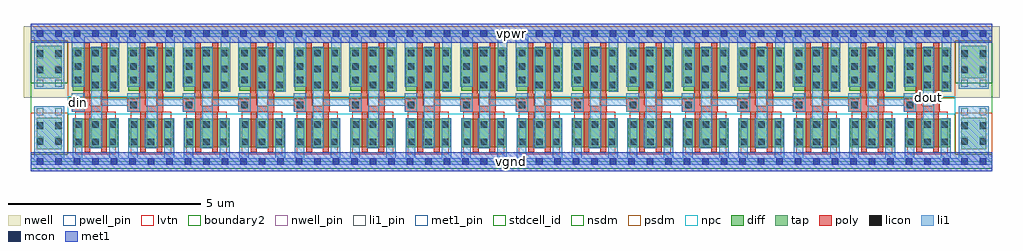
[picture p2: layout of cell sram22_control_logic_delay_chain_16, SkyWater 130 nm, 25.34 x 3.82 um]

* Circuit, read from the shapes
.subckt sram22_control_logic_delay_chain_16 din dout vgnd vpwr
XM1 sky130_fd_sc_hs__inv_2_1/a din vgnd vgnd sky130_fd_pr__nfet_01v8_lvt w=0.74 l=0.15 m=2
XM2 sky130_fd_sc_hs__inv_2_2/a sky130_fd_sc_hs__inv_2_1/a vgnd vgnd sky130_fd_pr__nfet_01v8_lvt w=0.74 l=0.15 m=2
XM3 sky130_fd_sc_hs__inv_2_3/a sky130_fd_sc_hs__inv_2_2/a vgnd vgnd sky130_fd_pr__nfet_01v8_lvt w=0.74 l=0.15 m=2
XM4 sky130_fd_sc_hs__inv_2_4/a sky130_fd_sc_hs__inv_2_3/a vgnd vgnd sky130_fd_pr__nfet_01v8_lvt w=0.74 l=0.15 m=2
XM5 sky130_fd_sc_hs__inv_2_5/a sky130_fd_sc_hs__inv_2_4/a vgnd vgnd sky130_fd_pr__nfet_01v8_lvt w=0.74 l=0.15 m=2
XM6 sky130_fd_sc_hs__inv_2_6/a sky130_fd_sc_hs__inv_2_5/a vgnd vgnd sky130_fd_pr__nfet_01v8_lvt w=0.74 l=0.15 m=2
XM7 sky130_fd_sc_hs__inv_2_7/a sky130_fd_sc_hs__inv_2_6/a vgnd vgnd sky130_fd_pr__nfet_01v8_lvt w=0.74 l=0.15 m=2
XM8 sky130_fd_sc_hs__inv_2_8/a sky130_fd_sc_hs__inv_2_7/a vgnd vgnd sky130_fd_pr__nfet_01v8_lvt w=0.74 l=0.15 m=2
XM9 sky130_fd_sc_hs__inv_2_9/a sky130_fd_sc_hs__inv_2_8/a vgnd vgnd sky130_fd_pr__nfet_01v8_lvt w=0.74 l=0.15 m=2
XM10 sky130_fd_sc_hs__inv_2_10/a sky130_fd_sc_hs__inv_2_9/a vgnd vgnd sky130_fd_pr__nfet_01v8_lvt w=0.74 l=0.15 m=2
XM11 sky130_fd_sc_hs__inv_2_11/a sky130_fd_sc_hs__inv_2_10/a vgnd vgnd sky130_fd_pr__nfet_01v8_lvt w=0.74 l=0.15 m=2
XM12 sky130_fd_sc_hs__inv_2_12/a sky130_fd_sc_hs__inv_2_11/a vgnd vgnd sky130_fd_pr__nfet_01v8_lvt w=0.74 l=0.15 m=2
XM13 sky130_fd_sc_hs__inv_2_13/a sky130_fd_sc_hs__inv_2_12/a vgnd vgnd sky130_fd_pr__nfet_01v8_lvt w=0.74 l=0.15 m=2
XM14 sky130_fd_sc_hs__inv_2_14/a sky130_fd_sc_hs__inv_2_13/a vgnd vgnd sky130_fd_pr__nfet_01v8_lvt w=0.74 l=0.15 m=2
XM15 sky130_fd_sc_hs__inv_2_15/a sky130_fd_sc_hs__inv_2_14/a vgnd vgnd sky130_fd_pr__nfet_01v8_lvt w=0.74 l=0.15 m=2
XM16 dout sky130_fd_sc_hs__inv_2_15/a vgnd vgnd sky130_fd_pr__nfet_01v8_lvt w=0.74 l=0.15 m=2
XM17 sky130_fd_sc_hs__inv_2_1/a din vpwr vpwr sky130_fd_pr__pfet_01v8 w=1.12 l=0.15 m=2
XM18 sky130_fd_sc_hs__inv_2_2/a sky130_fd_sc_hs__inv_2_1/a vpwr vpwr sky130_fd_pr__pfet_01v8 w=1.12 l=0.15 m=2
XM19 sky130_fd_sc_hs__inv_2_3/a sky130_fd_sc_hs__inv_2_2/a vpwr vpwr sky130_fd_pr__pfet_01v8 w=1.12 l=0.15 m=2
XM20 sky130_fd_sc_hs__inv_2_4/a sky130_fd_sc_hs__inv_2_3/a vpwr vpwr sky130_fd_pr__pfet_01v8 w=1.12 l=0.15 m=2
XM21 sky130_fd_sc_hs__inv_2_5/a sky130_fd_sc_hs__inv_2_4/a vpwr vpwr sky130_fd_pr__pfet_01v8 w=1.12 l=0.15 m=2
XM22 sky130_fd_sc_hs__inv_2_6/a sky130_fd_sc_hs__inv_2_5/a vpwr vpwr sky130_fd_pr__pfet_01v8 w=1.12 l=0.15 m=2
XM23 sky130_fd_sc_hs__inv_2_7/a sky130_fd_sc_hs__inv_2_6/a vpwr vpwr sky130_fd_pr__pfet_01v8 w=1.12 l=0.15 m=2
XM24 sky130_fd_sc_hs__inv_2_8/a sky130_fd_sc_hs__inv_2_7/a vpwr vpwr sky130_fd_pr__pfet_01v8 w=1.12 l=0.15 m=2
XM25 sky130_fd_sc_hs__inv_2_9/a sky130_fd_sc_hs__inv_2_8/a vpwr vpwr sky130_fd_pr__pfet_01v8 w=1.12 l=0.15 m=2
XM26 sky130_fd_sc_hs__inv_2_10/a sky130_fd_sc_hs__inv_2_9/a vpwr vpwr sky130_fd_pr__pfet_01v8 w=1.12 l=0.15 m=2
XM27 sky130_fd_sc_hs__inv_2_11/a sky130_fd_sc_hs__inv_2_10/a vpwr vpwr sky130_fd_pr__pfet_01v8 w=1.12 l=0.15 m=2
XM28 sky130_fd_sc_hs__inv_2_12/a sky130_fd_sc_hs__inv_2_11/a vpwr vpwr sky130_fd_pr__pfet_01v8 w=1.12 l=0.15 m=2
XM29 sky130_fd_sc_hs__inv_2_13/a sky130_fd_sc_hs__inv_2_12/a vpwr vpwr sky130_fd_pr__pfet_01v8 w=1.12 l=0.15 m=2
XM30 sky130_fd_sc_hs__inv_2_14/a sky130_fd_sc_hs__inv_2_13/a vpwr vpwr sky130_fd_pr__pfet_01v8 w=1.12 l=0.15 m=2
XM31 sky130_fd_sc_hs__inv_2_15/a sky130_fd_sc_hs__inv_2_14/a vpwr vpwr sky130_fd_pr__pfet_01v8 w=1.12 l=0.15 m=2
XM32 dout sky130_fd_sc_hs__inv_2_15/a vpwr vpwr sky130_fd_pr__pfet_01v8 w=1.12 l=0.15 m=2
.ends

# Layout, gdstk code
import gdstk
lib = gdstk.Library(unit=1e-6, precision=1e-09)
def R(c, l, rs):  # rectangles x0, y0, x1, y1
    for r in rs: c.add(gdstk.rectangle(r[:2], r[2:], *l))
def A(c, l, x, y, w, h, nx, ny, dx, dy):  # array of equal rectangles
    R(c, l, [(x+i*dx, y+j*dy, x+i*dx+w, y+j*dy+h) for i in range(nx) for j in range(ny)])
def P(c, l, *ps):  # polygons
    for p in ps: c.add(gdstk.Polygon(p, *l))
nwell_pin = (64, 16)
nwell = (64, 20)
diff = (65, 20)
tap = (65, 44)
poly = (66, 20)
licon = (66, 44)
li1_pin = (67, 16)
li1 = (67, 20)
mcon = (67, 44)
met1_pin = (68, 16)
met1 = (68, 20)
stdcell_id = (81, 4)
nsdm = (93, 44)
psdm = (94, 20)
npc = (95, 20)
pwell_pin = (122, 16)
lvtn = (125, 44)
boundary2 = (236, 0)

sky130_fd_sc_hs__inv_2 = lib.new_cell('sky130_fd_sc_hs__inv_2')
R(sky130_fd_sc_hs__inv_2, nwell_pin, [(0,3.085,1.44,3.33)])
R(sky130_fd_sc_hs__inv_2, nwell, [(-0.19,1.66,1.63,3.52)])
R(sky130_fd_sc_hs__inv_2, diff, [(0.15,0.37,1.3,1.11), (0.135,1.84,1.305,2.96)])
P(sky130_fd_sc_hs__inv_2, poly, [(0.435,0.24),(0.435,1.3),(0.105,1.3),(0.105,1.63),(0.405,1.63),(0.405,1.765),(0.42,1.765),(0.42,3.09),(0.57,3.09),(0.57,1.765),(0.585,1.765),(0.585,1.45),(0.855,1.45),(0.855,1.765),(0.87,1.765),(0.87,3.09),(1.02,3.09),(1.02,1.765),(1.035,1.765),(1.035,1.3),(1.015,1.3),(1.015,0.24),(0.865,0.24),(0.865,1.3),(0.585,1.3),(0.585,0.24)])
A(sky130_fd_sc_hs__inv_2, licon, 0.21, 0.43, 0.17, 0.17, 3, 2, 0.43, 0.45)
A(sky130_fd_sc_hs__inv_2, licon, 0.185, 2.73, 0.17, 0.17, 3, 1, 0.45, 0)
R(sky130_fd_sc_hs__inv_2, licon, [(0.185,1.38,0.355,1.55), (0.635,1.9,0.805,2.07), (1.085,1.9,1.255,2.07), (0.185,2.03,0.355,2.2), (0.635,2.315,0.805,2.485), (1.085,2.315,1.255,2.485), (0.185,2.38,0.355,2.55)])
R(sky130_fd_sc_hs__inv_2, li1_pin, [(0.605,0.35,0.89,2.98), (0.105,1.3,0.435,1.78)])
R(sky130_fd_sc_hs__inv_2, li1, [(0.105,1.3,0.435,1.78)])
P(sky130_fd_sc_hs__inv_2, li1, [(0,-0.085),(0,0.085),(0.13,0.085),(0.13,1.13),(0.38,1.13),(0.38,0.085),(1.07,0.085),(1.07,1.13),(1.32,1.13),(1.32,0.085),(1.44,0.085),(1.44,-0.085)],
  [(1.085,1.82),(1.085,3.245),(0.435,3.245),(0.435,1.95),(0.105,1.95),(0.105,3.245),(0,3.245),(0,3.415),(1.44,3.415),(1.44,3.245),(1.335,3.245),(1.335,1.82)],
  [(0.56,0.35),(0.56,1.13),(0.605,1.13),(0.605,2.98),(0.89,2.98),(0.89,0.35)])
A(sky130_fd_sc_hs__inv_2, mcon, 0.155, -0.085, 0.17, 0.17, 3, 2, 0.48, 3.33)
R(sky130_fd_sc_hs__inv_2, met1_pin, [(0,0,1.44,0.245), (0,3.085,1.44,3.33)])
R(sky130_fd_sc_hs__inv_2, met1, [(0,-0.245,1.44,0.245), (0,3.085,1.44,3.575)])
R(sky130_fd_sc_hs__inv_2, stdcell_id, [(0,0,1.44,3.33)])
R(sky130_fd_sc_hs__inv_2, nsdm, [(0,-0.19,1.44,1.66)])
R(sky130_fd_sc_hs__inv_2, psdm, [(0,1.66,1.44,3.52)])
R(sky130_fd_sc_hs__inv_2, npc, [(0,1.23,1.44,1.7)])
R(sky130_fd_sc_hs__inv_2, pwell_pin, [(0,0,1.44,0.245)])
R(sky130_fd_sc_hs__inv_2, lvtn, [(0.19,0.19,1.25,1.3)])
R(sky130_fd_sc_hs__inv_2, boundary2, [(0,0,1.44,3.33)])
sky130_fd_sc_hs__inv_2.add(gdstk.Label('vpb', (0.72,3.207), layer=64, texttype=16))
sky130_fd_sc_hs__inv_2.add(gdstk.Label('vpb', (0.72,2.59), layer=64, texttype=16))
sky130_fd_sc_hs__inv_2.add(gdstk.Label('vpwr', (0.72,3.207), layer=68, texttype=16))
sky130_fd_sc_hs__inv_2.add(gdstk.Label('vgnd', (0.72,0.122), layer=68, texttype=16))
sky130_fd_sc_hs__inv_2.add(gdstk.Label('vgnd', (0.72,0), layer=68, texttype=16))
sky130_fd_sc_hs__inv_2.add(gdstk.Label('vpwr', (0.72,3.33), layer=68, texttype=16))
sky130_fd_sc_hs__inv_2.add(gdstk.Label('y', (0.747,1.665), layer=67, texttype=16))
sky130_fd_sc_hs__inv_2.add(gdstk.Label('a', (0.27,1.54), layer=67, texttype=16))
sky130_fd_sc_hs__inv_2.add(gdstk.Label('y', (0.725,1.665), layer=67, texttype=16))
sky130_fd_sc_hs__inv_2.add(gdstk.Label('a', (0.27,1.54), layer=67, texttype=16))
sky130_fd_sc_hs__inv_2.add(gdstk.Label('inv_2', (0,0), layer=83, texttype=44))
sky130_fd_sc_hs__inv_2.add(gdstk.Label('vnb', (0.72,0.123), layer=64, texttype=59))

sky130_fd_sc_hs__tap_2 = lib.new_cell('sky130_fd_sc_hs__tap_2')
R(sky130_fd_sc_hs__tap_2, nwell_pin, [(0,3.085,0.96,3.33)])
R(sky130_fd_sc_hs__tap_2, nwell, [(-0.19,1.66,1.15,3.52)])
R(sky130_fd_sc_hs__tap_2, tap, [(0.155,0.32,0.805,1.145), (0.155,2.17,0.805,3.01)])
R(sky130_fd_sc_hs__tap_2, licon, [(0.155,0.44,0.325,0.61), (0.635,0.44,0.805,0.61), (0.155,0.855,0.325,1.025), (0.635,0.855,0.805,1.025), (0.155,2.29,0.325,2.46), (0.635,2.29,0.805,2.46), (0.155,2.72,0.325,2.89), (0.635,2.72,0.805,2.89)])
A(sky130_fd_sc_hs__tap_2, li1_pin, 0.155, 0.47, 0.17, 0.17, 1, 3, 0, 0.37)
A(sky130_fd_sc_hs__tap_2, li1_pin, 0.635, 0.47, 0.17, 0.17, 1, 3, 0, 0.37)
A(sky130_fd_sc_hs__tap_2, li1_pin, 0.155, 1.95, 0.17, 0.17, 1, 3, 0, 0.37)
A(sky130_fd_sc_hs__tap_2, li1_pin, 0.635, 1.95, 0.17, 0.17, 1, 3, 0, 0.37)
R(sky130_fd_sc_hs__tap_2, li1, [(0,-0.085,0.96,0.085), (0.09,0.085,0.87,0.265), (0.09,0.265,0.87,1.44), (0.09,1.89,0.87,3.065), (0.09,3.065,0.87,3.245), (0,3.245,0.96,3.415)])
R(sky130_fd_sc_hs__tap_2, mcon, [(0.155,-0.085,0.325,0.085), (0.635,-0.085,0.805,0.085), (0.155,3.245,0.325,3.415), (0.635,3.245,0.805,3.415)])
R(sky130_fd_sc_hs__tap_2, met1_pin, [(0,0,0.96,0.245), (0,3.085,0.96,3.33)])
R(sky130_fd_sc_hs__tap_2, met1, [(0,-0.245,0.96,0.245), (0,3.085,0.96,3.575)])
R(sky130_fd_sc_hs__tap_2, stdcell_id, [(0,0,0.96,3.33)])
R(sky130_fd_sc_hs__tap_2, nsdm, [(0,-0.19,0.96,0.19), (0,2.04,0.96,3.14)])
R(sky130_fd_sc_hs__tap_2, psdm, [(0,0.19,0.96,1.275), (0,3.14,0.96,3.52)])
R(sky130_fd_sc_hs__tap_2, pwell_pin, [(0,0,0.96,0.245)])
R(sky130_fd_sc_hs__tap_2, boundary2, [(0,0,0.96,3.33)])
sky130_fd_sc_hs__tap_2.add(gdstk.Label('vpb', (0.48,2.59), layer=64, texttype=16))
sky130_fd_sc_hs__tap_2.add(gdstk.Label('vpb', (0.48,3.207), layer=64, texttype=16))
sky130_fd_sc_hs__tap_2.add(gdstk.Label('vpwr', (0.48,3.33), layer=68, texttype=16))
sky130_fd_sc_hs__tap_2.add(gdstk.Label('vgnd', (0.48,0), layer=68, texttype=16))
sky130_fd_sc_hs__tap_2.add(gdstk.Label('vpwr', (0.48,3.207), layer=68, texttype=16))
sky130_fd_sc_hs__tap_2.add(gdstk.Label('vgnd', (0.48,0.122), layer=68, texttype=16))
sky130_fd_sc_hs__tap_2.add(gdstk.Label('vpb', (0.48,2.477), layer=67, texttype=16))
sky130_fd_sc_hs__tap_2.add(gdstk.Label('vnb', (0.48,0.852), layer=67, texttype=16))
sky130_fd_sc_hs__tap_2.add(gdstk.Label('vpb', (0.24,2.405), layer=67, texttype=16))
sky130_fd_sc_hs__tap_2.add(gdstk.Label('vpb', (0.24,2.775), layer=67, texttype=16))
sky130_fd_sc_hs__tap_2.add(gdstk.Label('vpb', (0.72,2.405), layer=67, texttype=16))
sky130_fd_sc_hs__tap_2.add(gdstk.Label('vpb', (0.72,2.035), layer=67, texttype=16))
sky130_fd_sc_hs__tap_2.add(gdstk.Label('vpb', (0.72,2.775), layer=67, texttype=16))
sky130_fd_sc_hs__tap_2.add(gdstk.Label('vnb', (0.72,0.925), layer=67, texttype=16))
sky130_fd_sc_hs__tap_2.add(gdstk.Label('vnb', (0.72,0.555), layer=67, texttype=16))
sky130_fd_sc_hs__tap_2.add(gdstk.Label('vnb', (0.24,1.295), layer=67, texttype=16))
sky130_fd_sc_hs__tap_2.add(gdstk.Label('vnb', (0.24,0.555), layer=67, texttype=16))
sky130_fd_sc_hs__tap_2.add(gdstk.Label('vpb', (0.24,2.035), layer=67, texttype=16))
sky130_fd_sc_hs__tap_2.add(gdstk.Label('vnb', (0.24,0.925), layer=67, texttype=16))
sky130_fd_sc_hs__tap_2.add(gdstk.Label('vnb', (0.72,1.295), layer=67, texttype=16))
sky130_fd_sc_hs__tap_2.add(gdstk.Label('tap_2', (0,0), layer=83, texttype=44))
sky130_fd_sc_hs__tap_2.add(gdstk.Label('vnb', (0.48,0.123), layer=64, texttype=59))

sram22_control_logic_del = lib.new_cell('sram22_control_logic_delay_chain_16_route')
A(sram22_control_logic_del, li1, 2.505, 1.3, 0.33, 0.48, 15, 1, 1.44, 0)
A(sram22_control_logic_del, li1, 1.565, 1.455, 1.11, 0.17, 15, 1, 1.44, 0)

c_sram22_control_logic_del = lib.new_cell('sram22_control_logic_delay_chain_16')
R(c_sram22_control_logic_del, li1_pin, [(23.165,0.35,23.45,2.98), (1.065,1.3,1.395,1.78)])
R(c_sram22_control_logic_del, met1_pin, [(0,-0.245,24.96,0.245), (0,3.085,24.96,3.575)])
R(c_sram22_control_logic_del, boundary2, [(0,0,24.96,3.33)])
c_sram22_control_logic_del.add(gdstk.Reference(sky130_fd_sc_hs__inv_2, (0.96,0)))
c_sram22_control_logic_del.add(gdstk.Reference(sky130_fd_sc_hs__inv_2, (2.4,0)))
c_sram22_control_logic_del.add(gdstk.Reference(sky130_fd_sc_hs__inv_2, (3.84,0)))
c_sram22_control_logic_del.add(gdstk.Reference(sky130_fd_sc_hs__inv_2, (5.28,0)))
c_sram22_control_logic_del.add(gdstk.Reference(sky130_fd_sc_hs__inv_2, (6.72,0)))
c_sram22_control_logic_del.add(gdstk.Reference(sky130_fd_sc_hs__inv_2, (8.16,0)))
c_sram22_control_logic_del.add(gdstk.Reference(sky130_fd_sc_hs__inv_2, (9.6,0)))
c_sram22_control_logic_del.add(gdstk.Reference(sky130_fd_sc_hs__inv_2, (11.04,0)))
c_sram22_control_logic_del.add(gdstk.Reference(sky130_fd_sc_hs__inv_2, (12.48,0)))
c_sram22_control_logic_del.add(gdstk.Reference(sky130_fd_sc_hs__inv_2, (13.92,0)))
c_sram22_control_logic_del.add(gdstk.Reference(sky130_fd_sc_hs__inv_2, (15.36,0)))
c_sram22_control_logic_del.add(gdstk.Reference(sky130_fd_sc_hs__inv_2, (16.8,0)))
c_sram22_control_logic_del.add(gdstk.Reference(sky130_fd_sc_hs__inv_2, (18.24,0)))
c_sram22_control_logic_del.add(gdstk.Reference(sky130_fd_sc_hs__inv_2, (19.68,0)))
c_sram22_control_logic_del.add(gdstk.Reference(sky130_fd_sc_hs__inv_2, (21.12,0)))
c_sram22_control_logic_del.add(gdstk.Reference(sky130_fd_sc_hs__inv_2, (22.56,0)))
c_sram22_control_logic_del.add(gdstk.Reference(sky130_fd_sc_hs__tap_2, (0,0)))
c_sram22_control_logic_del.add(gdstk.Reference(sky130_fd_sc_hs__tap_2, (24,0)))
c_sram22_control_logic_del.add(gdstk.Reference(sram22_control_logic_del, (0,0)))
c_sram22_control_logic_del.add(gdstk.Label('vgnd', (12.48,0), layer=68, texttype=16))
c_sram22_control_logic_del.add(gdstk.Label('vpwr', (12.48,3.33), layer=68, texttype=16))
c_sram22_control_logic_del.add(gdstk.Label('din', (1.23,1.54), layer=67, texttype=16))
c_sram22_control_logic_del.add(gdstk.Label('dout', (23.307,1.665), layer=67, texttype=16))

lib.write_gds('sram22_control_logic_delay_chain_16.gds')
